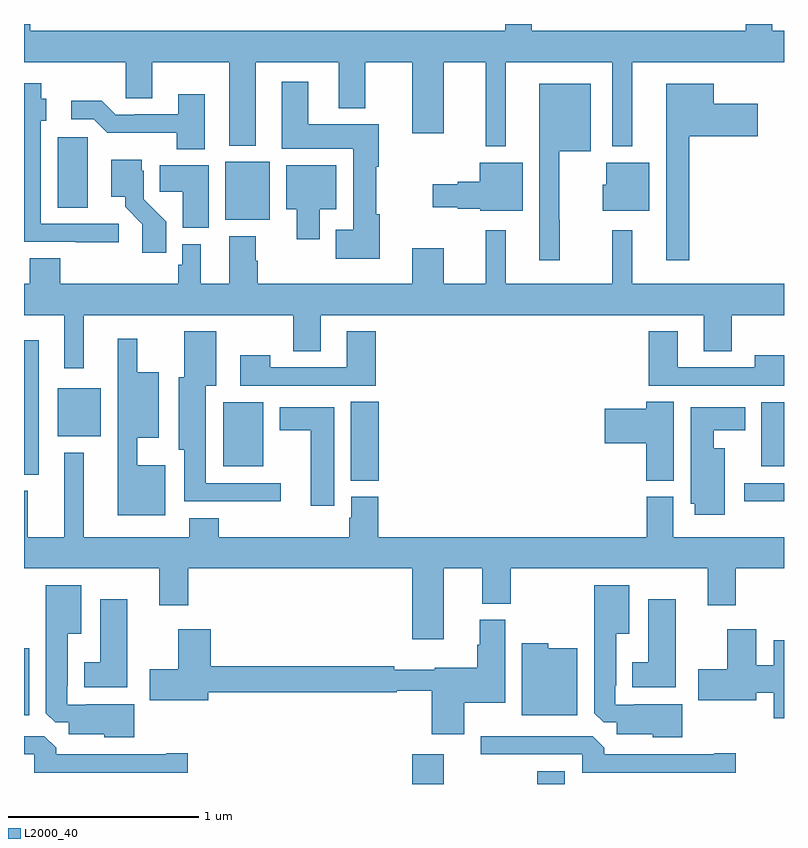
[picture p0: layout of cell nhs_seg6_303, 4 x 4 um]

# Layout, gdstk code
import gdstk
lib = gdstk.Library(unit=1e-6, precision=1e-09)
def R(c, l, rs):  # rectangles x0, y0, x1, y1
    for r in rs: c.add(gdstk.rectangle(r[:2], r[2:], *l))
def P(c, l, *ps):  # polygons
    for p in ps: c.add(gdstk.Polygon(p, *l))
L2000_40 = (2000, 40)

nhs_seg6_303 = lib.new_cell('nhs_seg6_303')
R(nhs_seg6_303, L2000_40, [(129.044,979.5,129.208,979.657), (129.7,979.5,129.847,979.567), (127,979.862,127.027,980.215), (130.791,980.987,131,981.084), (128.72,981.097,128.867,981.512), (127,981.128,127.078,981.835), (128.048,981.173,128.26,981.508), (130.88,981.173,131,981.508), (127.178,981.329,127.405,981.583), (128.06,982.469,128.293,982.774), (127.178,982.534,127.336,982.905)])
P(nhs_seg6_303, L2000_40, [(129.535,983.3),(130.097,983.3),(130.097,982.856),(130.201,982.856),(130.201,983.3),(131,983.3),(131,983.464),(130.939,983.464),(130.939,983.5),(130.799,983.5),(130.799,983.464),(129.673,983.464),(129.673,983.5),(129.533,983.5),(129.533,983.464),(127.034,983.464),(127.034,983.5),(127,983.5),(127,983.3),(127.536,983.3),(127.536,983.11),(127.675,983.11),(127.675,983.3),(128.081,983.3),(128.081,982.859),(128.221,982.859),(128.221,983.3),(128.657,983.3),(128.657,983.057),(128.797,983.057),(128.797,983.3),(129.044,983.3),(129.044,982.926),(129.208,982.926),(129.208,983.3),(129.431,983.3),(129.431,982.856),(129.535,982.856)],
  [(128.872,982.498),(128.854,982.498),(128.854,982.748),(128.867,982.748),(128.867,982.972),(128.497,982.972),(128.497,983.197),(128.357,983.197),(128.357,982.844),(128.732,982.844),(128.732,982.417),(128.642,982.417),(128.642,982.265),(128.872,982.265)],
  [(127.498,982.449),(127.089,982.449),(127.089,982.992),(127.117,982.992),(127.117,983.106),(127.09,983.106),(127.09,983.188),(127,983.188),(127,982.353),(127.273,982.353),(127.273,982.351),(127.498,982.351)],
  [(129.82,982.469),(129.817,982.469),(129.817,982.829),(129.982,982.829),(129.982,983.185),(129.713,983.185),(129.713,982.257),(129.82,982.257)],
  [(130.501,982.91),(130.861,982.91),(130.861,983.08),(130.63,983.08),(130.63,983.185),(130.379,983.185),(130.379,982.257),(130.501,982.257)],
  [(127.951,983.131),(127.811,983.131),(127.811,983.025),(127.582,983.025),(127.582,983.022),(127.482,983.022),(127.409,983.095),(127.248,983.095),(127.248,982.998),(127.368,982.998),(127.439,982.928),(127.804,982.928),(127.804,982.841),(127.951,982.841)],
  [(127.748,982.458),(127.629,982.577),(127.629,982.728),(127.621,982.728),(127.621,982.786),(127.46,982.786),(127.46,982.592),(127.532,982.592),(127.532,982.537),(127.623,982.447),(127.623,982.296),(127.748,982.296)],
  [(129.625,982.771),(129.398,982.771),(129.398,982.67),(129.282,982.67),(129.282,982.657),(129.15,982.657),(129.15,982.535),(129.282,982.535),(129.282,982.528),(129.402,982.528),(129.402,982.517),(129.625,982.517)],
  [(130.291,982.771),(130.064,982.771),(130.064,982.653),(130.046,982.653),(130.046,982.517),(130.291,982.517)],
  [(127.972,982.756),(127.714,982.756),(127.714,982.618),(127.835,982.618),(127.835,982.427),(127.972,982.427)],
  [(128.557,982.526),(128.644,982.526),(128.644,982.756),(128.381,982.756),(128.381,982.526),(128.435,982.526),(128.435,982.368),(128.557,982.368)],
  [(128.229,982.253),(128.221,982.253),(128.221,982.384),(128.081,982.384),(128.081,982.132),(127.93,982.132),(127.93,982.342),(127.833,982.342),(127.833,982.233),(127.813,982.233),(127.813,982.132),(127.19,982.132),(127.19,982.268),(127.03,982.268),(127.03,982.132),(127,982.132),(127,981.968),(127.211,981.968),(127.211,981.687),(127.315,981.687),(127.315,981.968),(128.416,981.968),(128.416,981.778),(128.563,981.778),(128.563,981.968),(130.577,981.968),(130.577,981.778),(130.725,981.778),(130.725,981.968),(131,981.968),(131,982.132),(130.201,982.132),(130.201,982.414),(130.095,982.414),(130.095,982.132),(129.535,982.132),(129.535,982.414),(129.431,982.414),(129.431,982.132),(129.208,982.132),(129.208,982.321),(129.044,982.321),(129.044,982.132),(128.229,982.132)],
  [(131,981.757),(130.846,981.757),(130.846,981.693),(130.441,981.693),(130.441,981.883),(130.289,981.883),(130.289,981.597),(131,981.597)],
  [(128.852,981.883),(128.699,981.883),(128.699,981.693),(128.295,981.693),(128.295,981.757),(128.139,981.757),(128.139,981.597),(128.852,981.597)],
  [(128.35,981.084),(127.957,981.084),(127.957,981.596),(128.011,981.596),(128.011,981.883),(127.844,981.883),(127.844,981.64),(127.814,981.64),(127.814,981.26),(127.844,981.26),(127.844,980.987),(128.35,980.987)],
  [(127.744,981.178),(127.597,981.178),(127.597,981.323),(127.708,981.323),(127.708,981.667),(127.597,981.667),(127.597,981.844),(127.493,981.844),(127.493,980.915),(127.744,980.915)],
  [(130.42,981.512),(130.274,981.512),(130.274,981.476),(130.056,981.476),(130.056,981.293),(130.274,981.293),(130.274,981.097),(130.42,981.097)],
  [(128.632,981.484),(128.345,981.484),(128.345,981.362),(128.51,981.362),(128.51,980.964),(128.632,980.964)],
  [(130.687,981.268),(130.63,981.268),(130.63,981.362),(130.795,981.362),(130.795,981.484),(130.508,981.484),(130.508,980.976),(130.529,980.976),(130.529,980.916),(130.687,980.916)],
  [(129.208,980.636),(129.413,980.636),(129.413,980.449),(129.561,980.449),(129.561,980.636),(130.598,980.636),(130.598,980.442),(130.746,980.442),(130.746,980.636),(131,980.636),(131,980.8),(130.417,980.8),(130.417,981.012),(130.277,981.012),(130.277,980.8),(128.864,980.8),(128.864,981.012),(128.723,981.012),(128.723,980.901),(128.711,980.901),(128.711,980.8),(128.024,980.8),(128.024,980.899),(127.871,980.899),(127.871,980.8),(127.315,980.8),(127.315,981.244),(127.211,981.244),(127.211,980.8),(127.021,980.8),(127.021,981.043),(127,981.043),(127,980.636),(127.712,980.636),(127.712,980.442),(127.865,980.442),(127.865,980.636),(129.044,980.636),(129.044,980.262),(129.208,980.262)],
  [(127.579,979.921),(127.327,979.921),(127.327,979.917),(127.227,979.917),(127.227,980.017),(127.231,980.017),(127.231,980.291),(127.3,980.291),(127.3,980.545),(127.115,980.545),(127.115,979.873),(127.164,979.824),(127.235,979.824),(127.235,979.763),(127.422,979.763),(127.422,979.745),(127.579,979.745)],
  [(130.465,979.921),(130.213,979.921),(130.213,979.917),(130.113,979.917),(130.113,980.017),(130.117,980.017),(130.117,980.291),(130.186,980.291),(130.186,980.545),(130.001,980.545),(130.001,979.873),(130.05,979.824),(130.121,979.824),(130.121,979.763),(130.308,979.763),(130.308,979.745),(130.465,979.745)],
  [(127.543,980.473),(127.4,980.473),(127.4,980.14),(127.316,980.14),(127.316,980.009),(127.543,980.009)],
  [(130.429,980.473),(130.286,980.473),(130.286,980.14),(130.202,980.14),(130.202,980.009),(130.429,980.009)],
  [(129.316,979.928),(129.532,979.928),(129.532,980.364),(129.398,980.364),(129.398,980.234),(129.386,980.234),(129.386,980.113),(129.162,980.113),(129.162,980.101),(128.948,980.101),(128.948,980.12),(127.982,980.12),(127.982,980.314),(127.811,980.314),(127.811,980.103),(127.662,980.103),(127.662,979.94),(127.969,979.94),(127.969,979.984),(128.962,979.984),(128.962,979.992),(129.146,979.992),(129.146,979.761),(129.316,979.761)],
  [(131,980.257),(130.946,980.257),(130.946,980.126),(130.855,980.126),(130.855,980.314),(130.7,980.314),(130.7,980.103),(130.548,980.103),(130.548,979.94),(130.855,979.94),(130.855,979.979),(130.946,979.979),(130.946,979.847),(131,979.847)],
  [(129.913,980.215),(129.759,980.215),(129.759,980.242),(129.62,980.242),(129.62,979.862),(129.913,979.862)],
  [(127.861,979.661),(127.748,979.661),(127.748,979.656),(127.169,979.656),(127.169,979.69),(127.107,979.752),(127,979.752),(127,979.656),(127.053,979.656),(127.053,979.56),(127.861,979.56)],
  [(130.747,979.661),(130.634,979.661),(130.634,979.656),(130.055,979.656),(130.055,979.69),(129.993,979.752),(129.405,979.752),(129.405,979.656),(129.939,979.656),(129.939,979.56),(130.747,979.56)])

lib.write_gds('nhs_seg6_303.gds')
